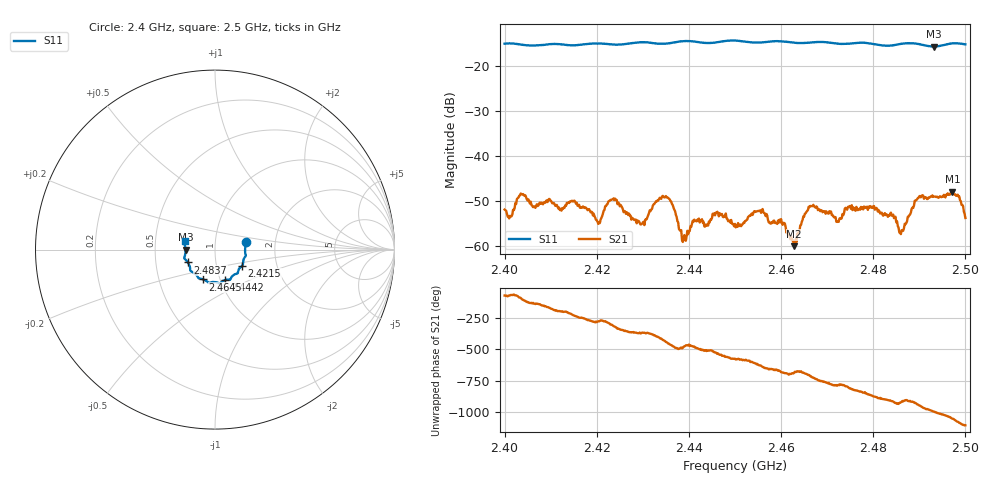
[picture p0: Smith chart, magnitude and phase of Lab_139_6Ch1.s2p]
# Hz S RI R 50
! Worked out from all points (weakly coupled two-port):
!   601 points, 2.4 GHz to 2.5 GHz, reference 50 ohm
!   highest |S21| = -47.96 dB at 2.4972 GHz (marker M1); lowest = -60.0 dB at 2.4628 GHz (marker M2)
!   lowest |S11| = -15.7 dB at 2.4932 GHz (marker M3), VSWR 1.39, Z = 35.9 - j0.0491 ohm
!   |S11| at or under -10 dB: start of sweep to end of sweep
!   S12 and S22 are empty: the file has one direction only
!   S11 on the Smith chart (normalised r, x): 2.4 GHz: 1.41, +0.12; 2.4215 GHz: 1.33, -0.25; 2.4442 GHz: 1.05, -0.37; 2.4645 GHz: 0.83, -0.29; 2.4837 GHz: 0.73, -0.11; 2.5 GHz: 0.71, +0.07
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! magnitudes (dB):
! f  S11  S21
! 2.4 GHz  -15.1  -51.9
! 2.4037 GHz  -15.3  -48.4
! 2.4167 GHz  -15.3  -51.4
! 2.4215 GHz  -15.1  -52.2
! 2.4238 GHz  -15.3  -49.8
! 2.4298 GHz  -14.8  -55.0
! 2.4333 GHz  -15.1  -49.9
! 2.436 GHz  -15.0  -50.0
! 2.439 GHz  -14.5  -57.6
! 2.4442 GHz  -15.0  -55.4
! 2.45 GHz  -14.4  -55.1
! 2.4557 GHz  -14.8  -52.6
! 2.4628 GHz  -14.9  -60.0
! 2.4645 GHz  -15.0  -54.6
! 2.4667 GHz  -14.8  -51.1
! 2.4833 GHz  -15.6  -53.2
! 2.4837 GHz  -15.5  -52.8
! 2.4862 GHz  -15.1  -56.5
! 2.4895 GHz  -15.1  -49.6
! 2.4932 GHz  -15.7  -49.0
! 2.4972 GHz  -15.0  -48.0
! 2.5 GHz  -15.3  -53.8
